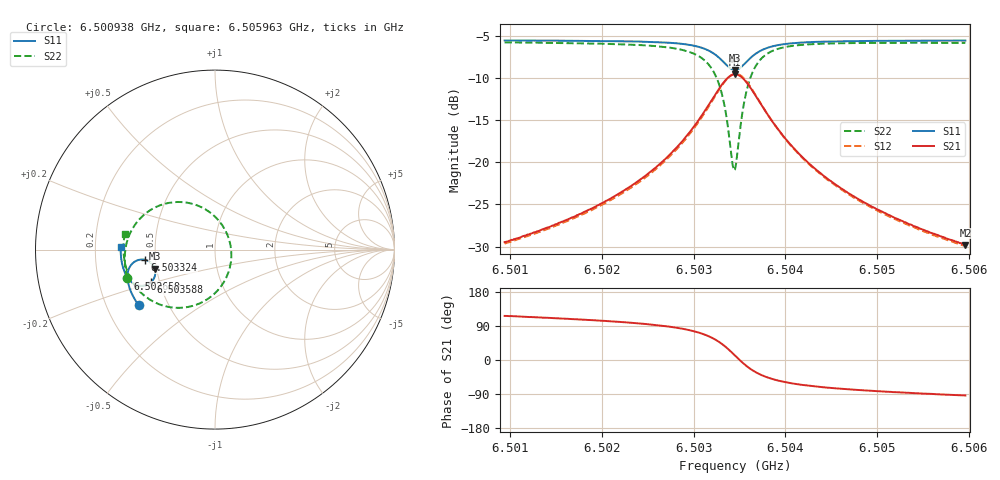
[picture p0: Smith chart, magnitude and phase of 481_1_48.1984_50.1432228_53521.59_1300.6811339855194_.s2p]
#  HZ  S  RI  R  50.00
! Rohde & Schwarz Vector Network Analyzer
! Rohde-Schwarz,ZNB20-2Port,1311601062101988,3.16
! Created: UTC 3/20/2024, 11:57:39 AM
! freq[Hz]  re:S11  im:S11  re:S21  im:S21  re:S12  im:S12  re:S22  im:S22
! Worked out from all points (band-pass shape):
!   401 points, 6.500938 GHz to 6.505963 GHz, reference 50 ohm
!   highest |S21| = -9.58 dB at 6.50345 GHz (marker M1); lowest = -29.8 dB at 6.505963 GHz (marker M2)
!   |S21| within 3 dB of the highest: 6.5032 GHz to 6.503702 GHz (502.2 kHz wide, 0.00772 % of centre)
!   lowest |S11| = -9.1 dB at 6.50345 GHz (marker M3), VSWR 2.09, Z = 24.4 - j5.91 ohm
!   |S11| at or under -10 dB: nowhere
!   |S22| runs from -20.9 to -5.8 dB; largest |S21 - S12| = 0.011
!   S11 on the Smith chart (normalised r, x): 6.500938 GHz: 0.34, -0.29; 6.502659 GHz: 0.33, -0.14; 6.503324 GHz: 0.44, -0.06; 6.503588 GHz: 0.45, -0.19; 6.505963 GHz: 0.31, +0.01
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6.5009375e9  -0.4257 -0.3108  -0.0149 0.0301  -0.0132 0.0301  -0.489 -0.1565
6.5017793e9  -0.462 -0.2486  -0.0142 0.0477  -0.0119 0.0473  -0.5025 -0.0671
6.5022818e9  -0.4795 -0.2037  -0.0108 0.0694  -0.00785 0.0682  -0.4988 0.00505
6.502621e9  -0.4873 -0.1658  -0.00237 0.0967  0.00117 0.0945  -0.4803 0.0739
6.5026587e9  -0.4877 -0.1608  -0.00056 0.1009  0.00299 0.0984  -0.4764 0.0834
6.502935e9  -0.4838 -0.1178  0.026 0.1434  0.0296 0.1392  -0.4212 0.1694
6.5031235e9  -0.4625 -0.0796  0.0803 0.1857  0.0826 0.1798  -0.3175 0.2422
6.5032366e9  -0.4298 -0.0589  0.1496 0.2036  0.1501 0.1976  -0.1927 0.2651
6.5033245e9  -0.3892 -0.057  0.2295 0.1876  0.2297 0.1829  -0.0547 0.225
6.5033622e9  -0.3695 -0.0645  0.2662 0.1645  0.2669 0.1605  0.00593 0.178
6.503425e9  -0.3424 -0.0915  0.3146 0.1002  0.3174 0.0958  0.0792 0.0542
6.5034501e9  -0.336 -0.1062  0.3249 0.0677  0.3284 0.0624  0.0903 -0.00638
6.5034753e9  -0.3328 -0.122  0.3288 0.0336  0.3325 0.0272  0.0887 -0.0686
6.5035381e9  -0.3398 -0.1599  0.3104 -0.045  0.3131 -0.0546  0.0328 -0.2055
6.5035883e9  -0.3564 -0.1821  0.2768 -0.0913  0.2768 -0.1021  -0.0442 -0.2776
6.5036888e9  -0.3964 -0.2013  0.2002 -0.1345  0.1956 -0.1442  -0.2 -0.3245
6.5038521e9  -0.4452 -0.1937  0.1137 -0.1344  0.1069 -0.1398  -0.3575 -0.282
6.504028e9  -0.474 -0.1726  0.0666 -0.1143  0.0604 -0.1168  -0.4343 -0.2161
6.5042918e9  -0.4963 -0.1411  0.0342 -0.0882  0.0295 -0.0889  -0.4815 -0.1393
6.5046813e9  -0.5123 -0.1004  0.0145 -0.0642  0.0114 -0.064  -0.5044 -0.0621
6.5051336e9  -0.5213 -0.0584  0.00501 -0.0483  0.0028 -0.0476  -0.5102 0.00138
6.5059627e9  -0.5264 0.0117  -0.00203 -0.0323  -0.00338 -0.0316  -0.5024 0.0893
